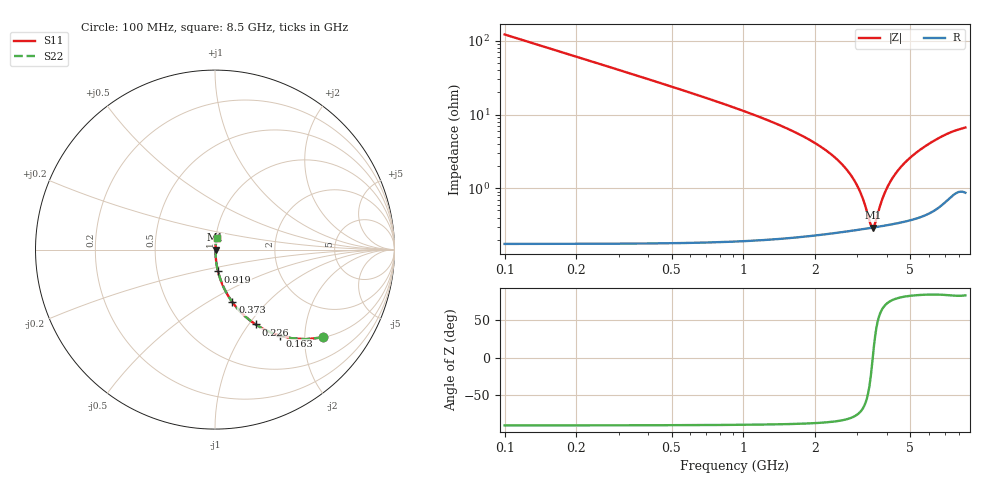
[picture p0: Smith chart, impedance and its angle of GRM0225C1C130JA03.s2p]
!Murata Part Number: GRM0225C1C130JA03
!These Parameters are Measured in Series Mode Connection
!Data Generated on Mar 30, 2021
!  o--ll--o
!Port1  Port2
!  o------o
!Operation Temp=25[degC], DC Bias Voltage=0[V]
!Freq. Start=100[MHz] Stop=9[GHz] 401[Steps]
# Hz S RI R 50
!Freq.(Hz) S11(Real) S11(Imag) S21(Real) S21(Imag) S12(Real) S12(Imag) S22(Real) S22(Imag)
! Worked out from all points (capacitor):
!   401 points, 100 MHz to 8.5 GHz, reference 50 ohm
!   read as one part in series: C = 13 pF near 142 MHz
!   lowest |Z| = 292 mohm at 3.481 GHz (marker M1)
!   series resonance near 3.479 GHz, so ESL is about 160 pH
!   S11 on the Smith chart (normalised r, x): 100 MHz: 1.00, -2.45; 163 MHz: 1.00, -1.50; 226 MHz: 1.00, -1.08; 373 MHz: 1.00, -0.65; 919 MHz: 1.00, -0.25; 8.5 GHz: 1.02, +0.13
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1e8  0.5993 -0.4893  0.4007 0.4893  0.4007 0.4893  0.5993 -0.4893
1.63e8  0.3599 -0.4788  0.6401 0.4788  0.6401 0.4788  0.3599 -0.4788
2.26e8  0.2261 -0.4167  0.7739 0.4167  0.7739 0.4167  0.2261 -0.4167
2.89e8  0.1514 -0.3563  0.8486 0.3563  0.8486 0.3563  0.1514 -0.3563
3.73e8  0.0965 -0.2925  0.9035 0.2925  0.9035 0.2925  0.0965 -0.2925
6.04e8  0.0388 -0.1885  0.9612 0.1885  0.9612 0.1885  0.0388 -0.1885
9.19e8  0.0169 -0.1214  0.9831 0.1214  0.9831 0.1214  0.0169 -0.1214
1.507e9  0.00636 -0.0652  0.9936 0.0652  0.9936 0.0652  0.00636 -0.0652
2.41e9  0.00314 -0.0261  0.9969 0.0261  0.9969 0.0261  0.00314 -0.0261
2.914e9  0.00282 -0.0124  0.9972 0.0124  0.9972 0.0124  0.00282 -0.0124
3.145e9  0.00282 -0.00702  0.9972 0.00702  0.9972 0.00702  0.00282 -0.00702
3.397e9  0.00288 -0.00166  0.9971 0.00166  0.9971 0.00166  0.00288 -0.00166
3.481e9  0.00291 3.49e-05  0.9971 -3.49e-05  0.9971 -3.49e-05  0.00291 3.49e-05
3.544e9  0.00294 0.00128  0.9971 -0.00128  0.9971 -0.00128  0.00294 0.00128
3.754e9  0.00306 0.00527  0.9969 -0.00527  0.9969 -0.00527  0.00306 0.00527
3.901e9  0.00316 0.00794  0.9968 -0.00794  0.9968 -0.00794  0.00316 0.00794
4.09e9  0.00331 0.0112  0.9967 -0.0112  0.9967 -0.0112  0.00331 0.0112
4.3e9  0.0035 0.0148  0.9965 -0.0148  0.9965 -0.0148  0.0035 0.0148
4.888e9  0.00417 0.024  0.9958 -0.024  0.9958 -0.024  0.00417 0.024
5.707e9  0.00549 0.0357  0.9945 -0.0357  0.9945 -0.0357  0.00549 0.0357
7.114e9  0.00959 0.0533  0.9904 -0.0533  0.9904 -0.0533  0.00959 0.0533
8.5e9  0.0129 0.0648  0.9871 -0.0648  0.9871 -0.0648  0.0129 0.0648
